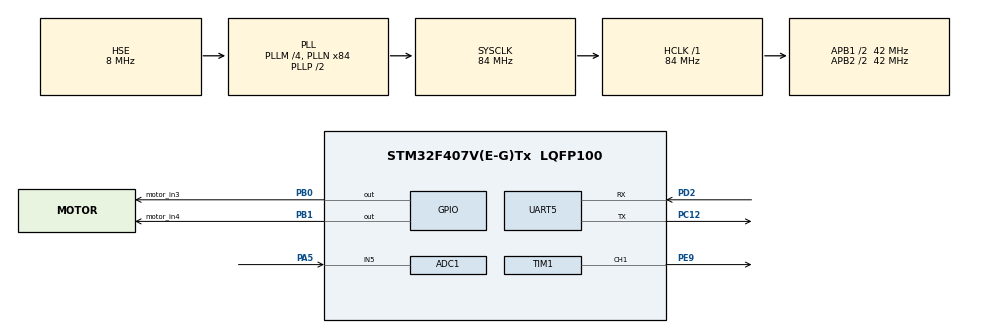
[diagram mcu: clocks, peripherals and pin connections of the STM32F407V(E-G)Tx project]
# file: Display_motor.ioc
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ADC1.Channel-2\#ChannelRegularConversion=ADC_CHANNEL_5
ADC1.ContinuousConvMode=ENABLE
ADC1.NbrOfConversionFlag=1
ADC1.Rank-2\#ChannelRegularConversion=1
ADC1.SamplingTime-2\#ChannelRegularConversion=ADC_SAMPLETIME_3CYCLES
ADC1.master=1
Mcu.Family=STM32F4
Mcu.Name=STM32F407V(E-G)Tx
Mcu.Package=LQFP100
NVIC.PriorityGroup=NVIC_PRIORITYGROUP_0
PA13.Mode=Serial_Wire
PA13.Signal=SYS_JTMS-SWDIO
PA14.Mode=Serial_Wire
PA14.Signal=SYS_JTCK-SWCLK
PA5.Signal=ADCx_IN5
PB0.GPIO_Label=motor_in3
PB0.Signal=GPIO_Output
PB1.GPIO_Label=motor_in4
PB1.Signal=GPIO_Output
PC12.Mode=Asynchronous
PC12.Signal=UART5_TX
PD2.Mode=Asynchronous
PD2.Signal=UART5_RX
PE9.Signal=S_TIM1_CH1
PH0-OSC_IN.Mode=HSE-External-Oscillator
PH0-OSC_IN.Signal=RCC_OSC_IN
PH1-OSC_OUT.Mode=HSE-External-Oscillator
PH1-OSC_OUT.Signal=RCC_OSC_OUT
ProjectManager.HeapSize=0x200
ProjectManager.StackSize=0x400
ProjectManager.TargetToolchain=STM32CubeIDE
RCC.48MHZClocksFreq_Value=24000000
RCC.AHBFreq_Value=84000000
RCC.APB1CLKDivider=RCC_HCLK_DIV2
RCC.APB1Freq_Value=42000000
RCC.APB1TimFreq_Value=84000000
RCC.APB2CLKDivider=RCC_HCLK_DIV2
RCC.APB2Freq_Value=42000000
RCC.APB2TimFreq_Value=84000000
RCC.CortexFreq_Value=84000000
RCC.HCLKFreq_Value=84000000
RCC.HSE_VALUE=8000000
RCC.HSI_VALUE=16000000
RCC.PLLM=4
RCC.PLLN=84
RCC.PLLQ=7
RCC.PLLSourceVirtual=RCC_PLLSOURCE_HSE
RCC.SYSCLKFreq_VALUE=84000000
RCC.SYSCLKSource=RCC_SYSCLKSOURCE_PLLCLK
RCC.VCOOutputFreq_Value=168000000
SH.ADCx_IN5.0=ADC1_IN5,IN5
SH.S_TIM1_CH1.0=TIM1_CH1,PWM Generation1 CH1
TIM1.Channel-PWM\ Generation1\ CH1=TIM_CHANNEL_1
TIM1.Period=1000
TIM1.Prescaler=84
UART5.VirtualMode=Asynchronous
VP_TIM1_VS_ClockSourceINT.Mode=Internal
board=STM32F407G-DISC1

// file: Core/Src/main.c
/* USER CODE BEGIN Header */
/**
  ******************************************************************************
  * @file           : main.c
  * @brief          : Main program body
  ******************************************************************************
  * @attention
  *
  * Copyright (c) 2022 STMicroelectronics.
  * All rights reserved.
  *
  * This software is licensed under terms that can be found in the LICENSE file
  * in the root directory of this software component.
  * If no LICENSE file comes with this software, it is provided AS-IS.
  *
  ******************************************************************************
  */
/* USER CODE END Header */
#include "main.h"

/* USER CODE BEGIN PD */
uint8_t sayi=0;
char TxBuffer[10];
char RxBuffer[5];
uint8_t data[]="";
/* USER CODE END PD */

ADC_HandleTypeDef hadc1;

TIM_HandleTypeDef htim1;

UART_HandleTypeDef huart5;

void SystemClock_Config(void);
static void MX_GPIO_Init(void);
static void MX_ADC1_Init(void);
static void MX_TIM1_Init(void);
static void MX_UART5_Init(void);

/* USER CODE BEGIN 0 */
uint8_t Cmd_End[3]={0xFF,0xFF,0xFF};//
void SendtoGauge(char *obj,uint16_t value)
{
	char buf[30];
	int len= sprintf(buf,"%s=%u",obj,value);
	HAL_UART_Transmit(&huart5, Cmd_End, 3,100);
	HAL_UART_Transmit(&huart5,(uint8_t*)buf ,len,1000);

}
void Sendtotxt(char *obj,char *value)
{
	char buf[30];
	int len= sprintf(buf,"%s.txt=\"%s\"",obj,value);
	HAL_UART_Transmit(&huart5, Cmd_End, 3,100);
	HAL_UART_Transmit(&huart5,buf ,len,1000);
}
void SendtoNum(char *obj,uint16_t value)
{
	char buf[30];
    int len= sprintf(buf,"%s=%u",obj,value);
	HAL_UART_Transmit(&huart5, Cmd_End, 3,100);
	HAL_UART_Transmit(&huart5,(uint8_t*)buf ,len,1000);

}
void SendtoPB(char *obj,uint16_t value)
{
	char buf[30];

	int len= sprintf(buf,"%s=%u",obj,value);
	HAL_UART_Transmit(&huart5, Cmd_End, 3,100);
	HAL_UART_Transmit(&huart5,(uint8_t*)buf ,len,1000);
}
/* USER CODE END 0 */

int main(void)
{

  /* MCU Configuration--------------------------------------------------------*/

  /* Reset of all peripherals, Initializes the Flash interface and the Systick. */
  HAL_Init();

  /* Configure the system clock */
  SystemClock_Config();

  /* Initialize all configured peripherals */
  MX_GPIO_Init();
  MX_ADC1_Init();
  MX_TIM1_Init();
  MX_UART5_Init();
  /* USER CODE BEGIN 2 */
HAL_TIM_PWM_Start(&htim1, TIM_CHANNEL_1);
  /* USER CODE END 2 */

  /* Infinite loop */
  while (1)
  {

    /* USER CODE BEGIN 3 */
	  /**/

  }
  /* USER CODE END 3 */
}

void SystemClock_Config(void)
{
  RCC_OscInitTypeDef RCC_OscInitStruct = {0};
  RCC_ClkInitTypeDef RCC_ClkInitStruct = {0};

  /** Configure the main internal regulator output voltage
  */
  __HAL_RCC_PWR_CLK_ENABLE();
  __HAL_PWR_VOLTAGESCALING_CONFIG(PWR_REGULATOR_VOLTAGE_SCALE1);

  /** Initializes the RCC Oscillators according to the specified parameters
  * in the RCC_OscInitTypeDef structure.
  */
  RCC_OscInitStruct.OscillatorType = RCC_OSCILLATORTYPE_HSE;
  RCC_OscInitStruct.HSEState = RCC_HSE_ON;
  RCC_OscInitStruct.PLL.PLLState = RCC_PLL_ON;
  RCC_OscInitStruct.PLL.PLLSource = RCC_PLLSOURCE_HSE;
  RCC_OscInitStruct.PLL.PLLM = 4;
  RCC_OscInitStruct.PLL.PLLN = 84;
  RCC_OscInitStruct.PLL.PLLP = RCC_PLLP_DIV2;
  RCC_OscInitStruct.PLL.PLLQ = 7;
  if (HAL_RCC_OscConfig(&RCC_OscInitStruct) != HAL_OK)
  {
    Error_Handler();
  }

  /** Initializes the CPU, AHB and APB buses clocks
  */
  RCC_ClkInitStruct.ClockType = RCC_CLOCKTYPE_HCLK|RCC_CLOCKTYPE_SYSCLK
                              |RCC_CLOCKTYPE_PCLK1|RCC_CLOCKTYPE_PCLK2;
  RCC_ClkInitStruct.SYSCLKSource = RCC_SYSCLKSOURCE_PLLCLK;
  RCC_ClkInitStruct.AHBCLKDivider = RCC_SYSCLK_DIV1;
  RCC_ClkInitStruct.APB1CLKDivider = RCC_HCLK_DIV2;
  RCC_ClkInitStruct.APB2CLKDivider = RCC_HCLK_DIV2;

  if (HAL_RCC_ClockConfig(&RCC_ClkInitStruct, FLASH_LATENCY_2) != HAL_OK)
  {
    Error_Handler();
  }
}

static void MX_ADC1_Init(void)
{

  ADC_ChannelConfTypeDef sConfig = {0};

  /** Configure the global features of the ADC (Clock, Resolution, Data Alignment and number of conversion)
  */
  hadc1.Instance = ADC1;
  hadc1.Init.ClockPrescaler = ADC_CLOCK_SYNC_PCLK_DIV2;
  hadc1.Init.Resolution = ADC_RESOLUTION_12B;
  hadc1.Init.ScanConvMode = DISABLE;
  hadc1.Init.ContinuousConvMode = ENABLE;
  hadc1.Init.DiscontinuousConvMode = DISABLE;
  hadc1.Init.ExternalTrigConvEdge = ADC_EXTERNALTRIGCONVEDGE_NONE;
  hadc1.Init.ExternalTrigConv = ADC_SOFTWARE_START;
  hadc1.Init.DataAlign = ADC_DATAALIGN_RIGHT;
  hadc1.Init.NbrOfConversion = 1;
  hadc1.Init.DMAContinuousRequests = DISABLE;
  hadc1.Init.EOCSelection = ADC_EOC_SINGLE_CONV;
  if (HAL_ADC_Init(&hadc1) != HAL_OK)
  {
    Error_Handler();
  }

  /** Configure for the selected ADC regular channel its corresponding rank in the sequencer and its sample time.
  */
  sConfig.Channel = ADC_CHANNEL_5;
  sConfig.Rank = 1;
  sConfig.SamplingTime = ADC_SAMPLETIME_3CYCLES;
  if (HAL_ADC_ConfigChannel(&hadc1, &sConfig) != HAL_OK)
  {
    Error_Handler();
  }

}

static void MX_TIM1_Init(void)
{

  TIM_ClockConfigTypeDef sClockSourceConfig = {0};
  TIM_MasterConfigTypeDef sMasterConfig = {0};
  TIM_OC_InitTypeDef sConfigOC = {0};
  TIM_BreakDeadTimeConfigTypeDef sBreakDeadTimeConfig = {0};

  htim1.Instance = TIM1;
  htim1.Init.Prescaler = 84;
  htim1.Init.CounterMode = TIM_COUNTERMODE_UP;
  htim1.Init.Period = 1000;
  htim1.Init.ClockDivision = TIM_CLOCKDIVISION_DIV1;
  htim1.Init.RepetitionCounter = 0;
  htim1.Init.AutoReloadPreload = TIM_AUTORELOAD_PRELOAD_DISABLE;
  if (HAL_TIM_Base_Init(&htim1) != HAL_OK)
  {
    Error_Handler();
  }
  sClockSourceConfig.ClockSource = TIM_CLOCKSOURCE_INTERNAL;
  if (HAL_TIM_ConfigClockSource(&htim1, &sClockSourceConfig) != HAL_OK)
  {
    Error_Handler();
  }
  if (HAL_TIM_PWM_Init(&htim1) != HAL_OK)
  {
    Error_Handler();
  }
  sMasterConfig.MasterOutputTrigger = TIM_TRGO_RESET;
  sMasterConfig.MasterSlaveMode = TIM_MASTERSLAVEMODE_DISABLE;
  if (HAL_TIMEx_MasterConfigSynchronization(&htim1, &sMasterConfig) != HAL_OK)
  {
    Error_Handler();
  }
  sConfigOC.OCMode = TIM_OCMODE_PWM1;
  sConfigOC.Pulse = 0;
  sConfigOC.OCPolarity = TIM_OCPOLARITY_HIGH;
  sConfigOC.OCNPolarity = TIM_OCNPOLARITY_HIGH;
  sConfigOC.OCFastMode = TIM_OCFAST_DISABLE;
  sConfigOC.OCIdleState = TIM_OCIDLESTATE_RESET;
  sConfigOC.OCNIdleState = TIM_OCNIDLESTATE_RESET;
  if (HAL_TIM_PWM_ConfigChannel(&htim1, &sConfigOC, TIM_CHANNEL_1) != HAL_OK)
  {
    Error_Handler();
  }
  sBreakDeadTimeConfig.OffStateRunMode = TIM_OSSR_DISABLE;
  sBreakDeadTimeConfig.OffStateIDLEMode = TIM_OSSI_DISABLE;
  sBreakDeadTimeConfig.LockLevel = TIM_LOCKLEVEL_OFF;
  sBreakDeadTimeConfig.DeadTime = 0;
  sBreakDeadTimeConfig.BreakState = TIM_BREAK_DISABLE;
  sBreakDeadTimeConfig.BreakPolarity = TIM_BREAKPOLARITY_HIGH;
  sBreakDeadTimeConfig.AutomaticOutput = TIM_AUTOMATICOUTPUT_DISABLE;
  if (HAL_TIMEx_ConfigBreakDeadTime(&htim1, &sBreakDeadTimeConfig) != HAL_OK)
  {
    Error_Handler();
  }
  HAL_TIM_MspPostInit(&htim1);

}

static void MX_UART5_Init(void)
{

  huart5.Instance = UART5;
  huart5.Init.BaudRate = 115200;
  huart5.Init.WordLength = UART_WORDLENGTH_8B;
  huart5.Init.StopBits = UART_STOPBITS_1;
  huart5.Init.Parity = UART_PARITY_NONE;
  huart5.Init.Mode = UART_MODE_TX_RX;
  huart5.Init.HwFlowCtl = UART_HWCONTROL_NONE;
  huart5.Init.OverSampling = UART_OVERSAMPLING_16;
  if (HAL_UART_Init(&huart5) != HAL_OK)
  {
    Error_Handler();
  }

}

static void MX_GPIO_Init(void)
{
  GPIO_InitTypeDef GPIO_InitStruct = {0};

  /* GPIO Ports Clock Enable */
  __HAL_RCC_GPIOH_CLK_ENABLE();
  __HAL_RCC_GPIOA_CLK_ENABLE();
  __HAL_RCC_GPIOB_CLK_ENABLE();
  __HAL_RCC_GPIOE_CLK_ENABLE();
  __HAL_RCC_GPIOC_CLK_ENABLE();
  __HAL_RCC_GPIOD_CLK_ENABLE();

  /*Configure GPIO pin Output Level */
  HAL_GPIO_WritePin(GPIOB, motor_in3_Pin|motor_in4_Pin, GPIO_PIN_RESET);

  /*Configure GPIO pins : motor_in3_Pin motor_in4_Pin */
  GPIO_InitStruct.Pin = motor_in3_Pin|motor_in4_Pin;
  GPIO_InitStruct.Mode = GPIO_MODE_OUTPUT_PP;
  GPIO_InitStruct.Pull = GPIO_NOPULL;
  GPIO_InitStruct.Speed = GPIO_SPEED_FREQ_LOW;
  HAL_GPIO_Init(GPIOB, &GPIO_InitStruct);

}

void Error_Handler(void)
{
  __disable_irq();
  while (1)
  {
  }
}
